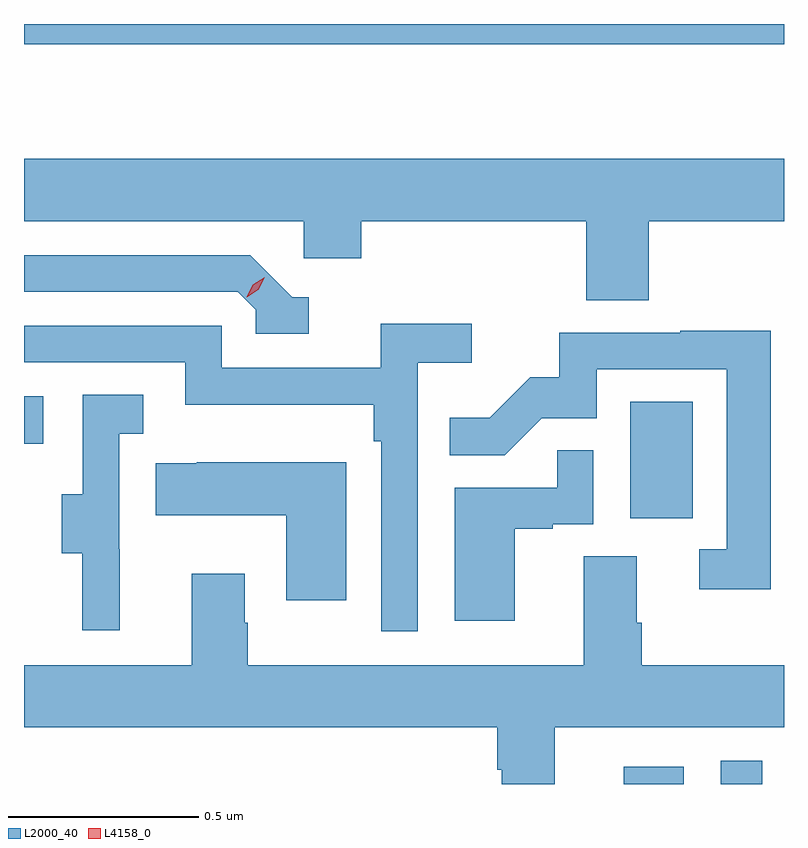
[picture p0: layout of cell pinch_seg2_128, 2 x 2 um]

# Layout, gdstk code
import gdstk
lib = gdstk.Library(unit=1e-6, precision=1e-09)
def R(c, l, rs):  # rectangles x0, y0, x1, y1
    for r in rs: c.add(gdstk.rectangle(r[:2], r[2:], *l))
def P(c, l, *ps):  # polygons
    for p in ps: c.add(gdstk.Polygon(p, *l))
L2000_40 = (2000, 40)
L4158_0 = (4158, 0)

pinch_seg2_128 = lib.new_cell('pinch_seg2_128')
R(pinch_seg2_128, L2000_40, [(1060.67,624.843,1060.828,624.889), (1060.926,624.843,1061.035,624.904), (1060.688,625.542,1060.852,625.849), (1059.092,625.739,1059.142,625.863), (1059.092,626.79,1061.092,626.843)])
P(pinch_seg2_128, L2000_40, [(1060.736,626.324),(1061.092,626.324),(1061.092,626.488),(1059.092,626.488),(1059.092,626.324),(1059.828,626.324),(1059.828,626.226),(1059.98,626.226),(1059.98,626.324),(1060.571,626.324),(1060.571,626.116),(1060.736,626.116)],
  [(1059.841,626.124),(1059.798,626.124),(1059.687,626.235),(1059.092,626.235),(1059.092,626.139),(1059.654,626.139),(1059.702,626.091),(1059.702,626.028),(1059.841,626.028)],
  [(1060.128,625.952),(1060.27,625.952),(1060.27,626.054),(1060.031,626.054),(1060.031,625.938),(1059.612,625.938),(1059.612,626.049),(1059.092,626.049),(1059.092,625.953),(1059.516,625.953),(1059.516,625.841),(1060.012,625.841),(1060.012,625.745),(1060.032,625.745),(1060.032,625.245),(1060.128,625.245)],
  [(1061.057,626.036),(1060.819,626.036),(1060.819,626.031),(1060.501,626.031),(1060.501,625.914),(1060.424,625.914),(1060.317,625.807),(1060.213,625.807),(1060.213,625.708),(1060.357,625.708),(1060.455,625.806),(1060.599,625.806),(1060.599,625.935),(1060.941,625.935),(1060.941,625.461),(1060.869,625.461),(1060.869,625.356),(1061.057,625.356)],
  [(1059.344,625.461),(1059.342,625.461),(1059.342,625.765),(1059.406,625.765),(1059.406,625.868),(1059.246,625.868),(1059.246,625.605),(1059.191,625.605),(1059.191,625.45),(1059.245,625.45),(1059.245,625.248),(1059.344,625.248)],
  [(1060.384,625.515),(1060.484,625.515),(1060.484,625.527),(1060.59,625.527),(1060.59,625.721),(1060.495,625.721),(1060.495,625.623),(1060.226,625.623),(1060.226,625.272),(1060.384,625.272)],
  [(1059.94,625.69),(1059.547,625.69),(1059.547,625.687),(1059.439,625.687),(1059.439,625.55),(1059.782,625.55),(1059.782,625.326),(1059.94,625.326)],
  [(1060.489,624.992),(1061.092,624.992),(1061.092,625.156),(1060.718,625.156),(1060.718,625.268),(1060.705,625.268),(1060.705,625.442),(1060.565,625.442),(1060.565,625.156),(1059.681,625.156),(1059.681,625.268),(1059.673,625.268),(1059.673,625.396),(1059.533,625.396),(1059.533,625.156),(1059.092,625.156),(1059.092,624.992),(1060.337,624.992),(1060.337,624.88),(1060.349,624.88),(1060.349,624.843),(1060.489,624.843)])
P(pinch_seg2_128, L4158_0, [(1059.678,626.124),(1059.678,626.125),(1059.694,626.157),(1059.725,626.177),(1059.726,626.177),(1059.726,626.177),(1059.709,626.144),(1059.678,626.124)])

lib.write_gds('pinch_seg2_128.gds')
